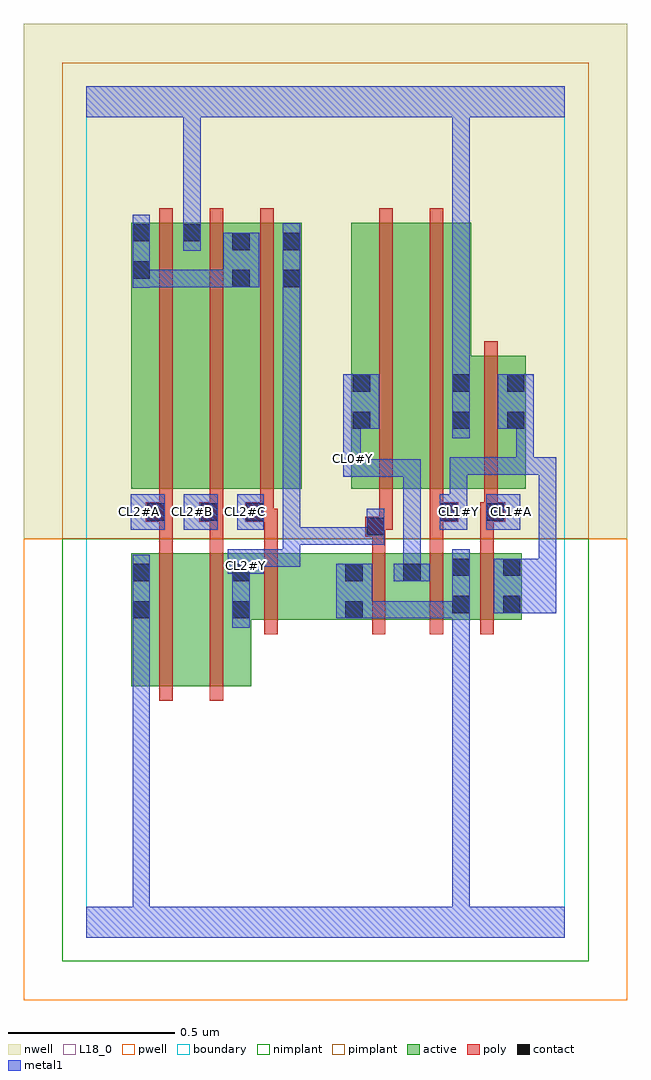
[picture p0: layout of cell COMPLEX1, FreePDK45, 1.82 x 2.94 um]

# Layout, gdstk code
import gdstk
lib = gdstk.Library(unit=1e-6, precision=1e-09)
def R(c, l, rs):  # rectangles x0, y0, x1, y1
    for r in rs: c.add(gdstk.rectangle(r[:2], r[2:], *l))
def A(c, l, x, y, w, h, nx, ny, dx, dy):  # array of equal rectangles
    R(c, l, [(x+i*dx, y+j*dy, x+i*dx+w, y+j*dy+h) for i in range(nx) for j in range(ny)])
active = (1, 0)
pwell = (2, 0)
nwell = (3, 0)
nimplant = (4, 0)
pimplant = (5, 0)
poly = (9, 0)
contact = (10, 0)
metal1 = (11, 0)
L18_0 = (18, 0)
boundary = (235, 0)

complex1 = lib.new_cell('COMPLEX1')
R(complex1, active, [(0.136,0.756,0.196,1.156), (0.136,0.756,0.316,1.156), (0.316,0.756,0.496,1.156), (0.436,0.756,0.496,1.156), (0.436,0.956,0.836,1.156), (0.776,0.956,0.836,1.156), (0.776,0.956,1.01,1.156), (0.95,0.956,1.01,1.156), (0.95,0.956,1.158,1.156), (1.098,0.956,1.158,1.156), (1.098,0.956,1.31,1.156), (1.25,0.956,1.31,1.156), (0.136,1.35,0.348,2.15), (0.136,1.35,0.196,2.15), (0.288,1.35,0.496,2.15), (0.436,1.35,0.648,2.15), (0.436,1.35,0.496,2.15), (0.588,1.35,0.648,2.124), (0.798,1.35,0.978,2.15), (0.798,1.35,0.858,2.044), (0.978,1.35,1.158,2.15), (1.098,1.35,1.158,1.698), (1.098,1.35,1.322,1.75), (1.262,1.35,1.322,1.698), (0.288,1.686,0.348,2.15)])
R(complex1, pwell, [(-0.188,-0.188,1.628,1.2)])
R(complex1, nwell, [(-0.188,1.2,1.628,2.748)])
R(complex1, nimplant, [(-0.072,-0.072,1.512,1.2)])
R(complex1, pimplant, [(-0.072,1.2,1.512,2.632)])
A(complex1, poly, 0.22, 1.27, 0.04, 0.076, 3, 1, 0.152, 0)
A(complex1, poly, 0.22, 1.306, 0.04, 0.888, 3, 1, 0.152, 0)
R(complex1, poly, [(0.22,0.712,0.26,1.2), (0.372,0.712,0.412,1.2), (0.536,0.912,0.576,1.2), (0.86,0.912,0.9,1.2), (1.034,0.912,1.074,1.2), (1.186,0.912,1.226,1.2), (0.22,1.16,0.26,1.29), (0.372,1.16,0.412,1.29), (0.536,1.16,0.576,1.29), (0.86,1.16,0.9,1.246), (1.034,1.16,1.074,1.29), (1.186,1.16,1.226,1.29), (0.84,1.206,0.9,1.266), (0.86,1.226,0.9,1.266), (0.86,1.226,0.922,1.266), (0.882,1.226,0.922,1.346), (0.18,1.25,0.26,1.31), (0.22,1.25,0.26,1.29), (0.22,1.25,0.26,1.29), (0.34,1.25,0.412,1.31), (0.372,1.25,0.412,1.29), (0.372,1.25,0.412,1.29), (0.478,1.25,0.564,1.31), (0.524,1.25,0.564,1.29), (0.524,1.25,0.576,1.29), (1.034,1.25,1.074,1.29), (1.034,1.25,1.074,1.29), (1.034,1.25,1.12,1.31), (1.186,1.25,1.26,1.31), (1.034,1.27,1.074,1.346), (1.198,1.27,1.238,1.346), (1.198,1.27,1.238,1.31), (1.198,1.27,1.238,1.31), (0.882,1.306,0.922,2.194), (1.034,1.306,1.074,2.194), (1.198,1.306,1.238,1.794)])
R(complex1, contact, [(0.14,0.96,0.192,1.012), (0.44,0.96,0.492,1.012), (0.78,0.96,0.832,1.012), (1.102,0.976,1.154,1.028), (1.254,0.976,1.306,1.028), (0.14,1.072,0.192,1.124), (0.44,1.072,0.492,1.124), (0.78,1.072,0.832,1.124), (0.954,1.072,1.006,1.124), (1.102,1.088,1.154,1.14), (1.254,1.088,1.306,1.14), (0.844,1.21,0.896,1.262), (0.184,1.254,0.236,1.306), (0.344,1.254,0.396,1.306), (0.482,1.254,0.534,1.306), (1.064,1.254,1.116,1.306), (1.204,1.254,1.256,1.306), (0.802,1.53,0.854,1.582), (1.102,1.53,1.154,1.582), (1.266,1.53,1.318,1.582), (0.802,1.642,0.854,1.694), (1.102,1.642,1.154,1.694), (1.266,1.642,1.318,1.694), (0.44,1.956,0.492,2.008), (0.592,1.956,0.644,2.008), (0.14,1.982,0.192,2.034), (0.44,2.068,0.492,2.12), (0.592,2.068,0.644,2.12), (0.14,2.094,0.192,2.146), (0.292,2.094,0.344,2.146)])
R(complex1, metal1, [(0,0,1.44,0.092), (0.14,0.04,0.192,0.092), (0.14,0.04,0.192,0.092), (0.14,0.04,0.192,0.092), (0.14,0.04,0.192,0.092), (0.14,0.04,0.192,0.092), (0.14,0.04,0.192,0.092), (0.14,0.04,0.192,0.092), (0.14,0.04,0.192,0.092), (0.14,0.04,0.192,0.092), (0.14,0.04,0.192,0.092), (0.14,0.04,0.192,0.984), (1.102,0.04,1.154,0.092), (1.102,0.04,1.154,0.092), (1.102,0.04,1.154,0.092), (1.102,0.04,1.154,0.092), (1.102,0.04,1.154,0.092), (1.102,0.04,1.154,0.092), (1.102,0.04,1.154,0.092), (1.102,0.04,1.154,0.092), (1.102,0.04,1.154,0.092), (1.102,0.04,1.154,0.092), (1.102,0.04,1.154,0.092), (1.102,0.04,1.154,0.092), (1.102,0.04,1.154,1), (0.14,0.932,0.192,0.984), (0.14,0.932,0.192,0.984), (0.14,0.932,0.192,1.152), (0.44,0.932,0.492,1.152), (1.102,0.948,1.154,1), (1.102,0.948,1.154,1), (1.102,0.948,1.154,1), (1.102,0.948,1.154,1), (1.102,0.948,1.154,1.168), (0.752,0.96,0.86,1.124), (0.808,0.96,0.86,1.012), (0.808,0.96,0.86,1.012), (0.808,0.96,1.036,1.012), (0.984,0.96,1.036,1.012), (0.984,0.96,1.036,1.012), (0.984,0.96,1.036,1.012), (0.984,0.96,1.154,1.012), (1.226,0.976,1.414,1.14), (0.926,1.072,1.034,1.124), (0.954,1.072,1.006,1.438), (1.362,1.088,1.414,1.444), (0.426,1.094,0.534,1.168), (0.44,1.094,0.492,1.146), (0.482,1.116,0.534,1.168), (0.482,1.116,0.534,1.168), (0.482,1.116,0.644,1.168), (0.592,1.116,0.644,1.234), (0.592,1.182,0.644,1.234), (0.592,1.182,0.644,1.234), (0.592,1.182,0.896,1.234), (0.592,1.182,0.644,1.98), (0.844,1.182,0.896,1.29), (0.134,1.226,0.236,1.334), (0.294,1.226,0.396,1.334), (0.454,1.226,0.534,1.334), (1.064,1.226,1.146,1.334), (1.204,1.226,1.306,1.334), (1.094,1.282,1.146,1.334), (1.094,1.282,1.146,1.444), (0.774,1.386,0.826,1.438), (0.774,1.386,0.826,1.438), (0.774,1.386,1.006,1.438), (0.774,1.386,0.826,1.494), (0.954,1.386,1.006,1.438), (0.954,1.386,1.006,1.438), (0.954,1.386,1.006,1.438), (1.094,1.392,1.346,1.444), (1.294,1.392,1.346,1.582), (1.294,1.392,1.346,1.444), (1.294,1.392,1.346,1.444), (1.294,1.392,1.414,1.444), (1.362,1.392,1.414,1.444), (1.362,1.392,1.414,1.444), (0.774,1.442,0.826,1.582), (1.102,1.502,1.154,1.722), (0.774,1.53,0.882,1.694), (1.238,1.53,1.346,1.694), (1.102,1.67,1.154,2.52), (0.592,1.928,0.644,1.98), (0.592,1.928,0.644,1.98), (0.592,1.928,0.644,2.148), (0.14,1.954,0.192,2.174), (0.14,1.956,0.192,2.008), (0.14,1.956,0.192,2.008), (0.14,1.956,0.354,2.008), (0.302,1.956,0.354,2.008), (0.302,1.956,0.354,2.008), (0.302,1.956,0.354,2.008), (0.302,1.956,0.464,2.008), (0.412,1.956,0.52,2.12), (0.292,2.066,0.344,2.174), (0.292,2.122,0.344,2.174), (0.292,2.122,0.344,2.174), (0.292,2.122,0.344,2.52), (0,2.468,1.44,2.56), (0.292,2.468,0.344,2.52), (0.292,2.468,0.344,2.52), (0.292,2.468,0.344,2.52), (0.292,2.468,0.344,2.52), (0.292,2.468,0.344,2.52), (0.292,2.468,0.344,2.52), (1.102,2.468,1.154,2.52), (1.102,2.468,1.154,2.52), (1.102,2.468,1.154,2.52), (1.102,2.468,1.154,2.52), (1.102,2.468,1.154,2.52), (1.102,2.468,1.154,2.52), (1.102,2.468,1.154,2.52), (1.102,2.468,1.154,2.52)])
A(complex1, L18_0, 0.134, 1.254, 0.052, 0.052, 3, 1, 0.16, 0)
R(complex1, L18_0, [(0,0,1.44,0.092), (0.14,0.04,0.192,0.092), (0.14,0.04,0.192,0.092), (0.14,0.04,0.192,0.092), (0.14,0.04,0.192,0.092), (0.14,0.04,0.192,0.092), (0.14,0.04,0.192,0.092), (0.14,0.04,0.192,0.092), (0.14,0.04,0.192,0.092), (0.14,0.04,0.192,0.092), (0.14,0.04,0.192,0.092), (0.14,0.04,0.192,0.984), (1.102,0.04,1.154,0.092), (1.102,0.04,1.154,0.092), (1.102,0.04,1.154,0.092), (1.102,0.04,1.154,0.092), (1.102,0.04,1.154,0.092), (1.102,0.04,1.154,0.092), (1.102,0.04,1.154,0.092), (1.102,0.04,1.154,0.092), (1.102,0.04,1.154,0.092), (1.102,0.04,1.154,0.092), (1.102,0.04,1.154,0.092), (1.102,0.04,1.154,0.092), (1.102,0.04,1.154,1), (0.14,0.932,0.192,0.984), (0.14,0.932,0.192,0.984), (0.14,0.932,0.192,1.152), (0.44,0.932,0.492,1.152), (1.102,0.948,1.154,1), (1.102,0.948,1.154,1), (1.102,0.948,1.154,1), (1.102,0.948,1.154,1), (1.102,0.948,1.154,1.168), (0.752,0.96,0.86,1.124), (0.808,0.96,0.86,1.012), (0.808,0.96,0.86,1.012), (0.808,0.96,1.036,1.012), (0.984,0.96,1.036,1.012), (0.984,0.96,1.036,1.012), (0.984,0.96,1.036,1.012), (0.984,0.96,1.154,1.012), (1.226,0.976,1.414,1.14), (0.926,1.072,1.034,1.124), (0.954,1.072,1.006,1.438), (1.362,1.088,1.414,1.444), (0.426,1.094,0.534,1.168), (0.44,1.094,0.492,1.146), (0.454,1.094,0.506,1.146), (0.482,1.116,0.534,1.168), (0.482,1.116,0.534,1.168), (0.482,1.116,0.644,1.168), (0.592,1.116,0.644,1.234), (0.592,1.182,0.644,1.234), (0.592,1.182,0.644,1.234), (0.592,1.182,0.644,1.98), (0.592,1.182,0.896,1.234), (0.844,1.182,0.896,1.29), (0.134,1.226,0.236,1.334), (0.294,1.226,0.396,1.334), (0.454,1.226,0.534,1.334), (1.064,1.226,1.146,1.334), (1.204,1.226,1.306,1.334), (1.094,1.254,1.146,1.306), (1.254,1.254,1.306,1.306), (1.094,1.282,1.146,1.334), (1.094,1.282,1.146,1.444), (0.774,1.386,0.826,1.438), (0.774,1.386,0.826,1.438), (0.774,1.386,0.826,1.494), (0.774,1.386,1.006,1.438), (0.954,1.386,1.006,1.438), (0.954,1.386,1.006,1.438), (0.954,1.386,1.006,1.438), (1.094,1.392,1.346,1.444), (1.294,1.392,1.346,1.444), (1.294,1.392,1.346,1.444), (1.294,1.392,1.414,1.444), (1.294,1.392,1.346,1.582), (1.362,1.392,1.414,1.444), (1.362,1.392,1.414,1.444), (0.774,1.414,0.826,1.466), (0.774,1.442,0.826,1.582), (1.102,1.502,1.154,1.722), (0.774,1.53,0.882,1.694), (1.238,1.53,1.346,1.694), (1.102,1.67,1.154,2.52), (0.592,1.928,0.644,1.98), (0.592,1.928,0.644,1.98), (0.592,1.928,0.644,2.148), (0.292,2.066,0.344,2.174), (0.292,2.122,0.344,2.174), (0.292,2.122,0.344,2.174), (0.292,2.122,0.344,2.52), (0,2.468,1.44,2.56), (0.292,2.468,0.344,2.52), (0.292,2.468,0.344,2.52), (0.292,2.468,0.344,2.52), (0.292,2.468,0.344,2.52), (0.292,2.468,0.344,2.52), (0.292,2.468,0.344,2.52), (1.102,2.468,1.154,2.52), (1.102,2.468,1.154,2.52), (1.102,2.468,1.154,2.52), (1.102,2.468,1.154,2.52), (1.102,2.468,1.154,2.52), (1.102,2.468,1.154,2.52), (1.102,2.468,1.154,2.52), (1.102,2.468,1.154,2.52)])
R(complex1, boundary, [(0,0,1.44,2.56)])
complex1.add(gdstk.Label('CL0#Y', (0.8,1.44), layer=11, texttype=0))
complex1.add(gdstk.Label('CL1#A', (1.28,1.28), layer=11, texttype=0))
complex1.add(gdstk.Label('CL1#Y', (1.12,1.28), layer=11, texttype=0))
complex1.add(gdstk.Label('CL2#A', (0.16,1.28), layer=11, texttype=0))
complex1.add(gdstk.Label('CL2#B', (0.32,1.28), layer=11, texttype=0))
complex1.add(gdstk.Label('CL2#C', (0.48,1.28), layer=11, texttype=0))
complex1.add(gdstk.Label('CL2#Y', (0.48,1.12), layer=11, texttype=0))

lib.write_gds('COMPLEX1.gds')
